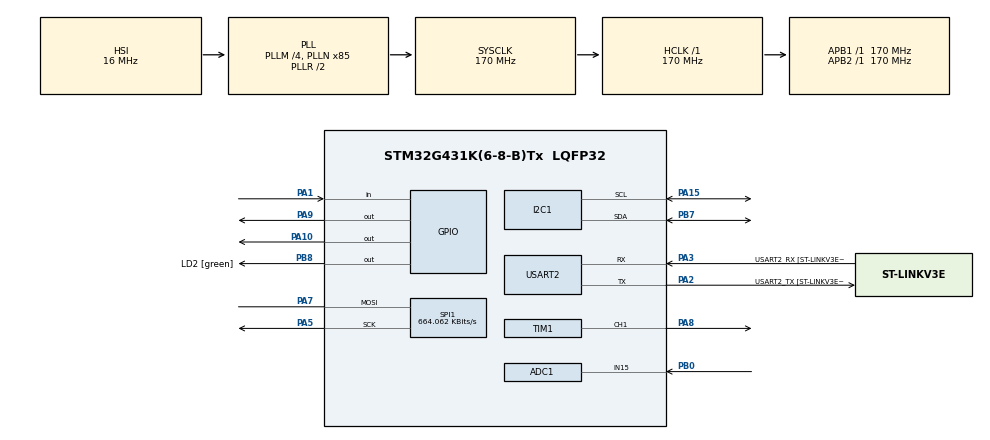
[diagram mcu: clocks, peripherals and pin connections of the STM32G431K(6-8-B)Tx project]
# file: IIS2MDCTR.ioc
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ADC1.Channel-0\#ChannelRegularConversion=ADC_CHANNEL_15
ADC1.NbrOfConversionFlag=1
ADC1.OffsetNumber-0\#ChannelRegularConversion=ADC_OFFSET_NONE
ADC1.Rank-0\#ChannelRegularConversion=1
ADC1.SamplingTime-0\#ChannelRegularConversion=ADC_SAMPLETIME_2CYCLES_5
ADC1.master=1
I2C1.Timing=0x30A0A7FB
Mcu.Family=STM32G4
Mcu.Name=STM32G431K(6-8-B)Tx
Mcu.Package=LQFP32
NVIC.PriorityGroup=NVIC_PRIORITYGROUP_4
PA1.Signal=GPIO_Input
PA10.Signal=GPIO_Output
PA13.GPIO_Label=T_SWDIO
PA13.Mode=Serial_Wire
PA13.Signal=SYS_JTMS-SWDIO
PA14.GPIO_Label=T_SWCLK
PA14.Mode=Serial_Wire
PA14.Signal=SYS_JTCK-SWCLK
PA15.Mode=I2C
PA15.Signal=I2C1_SCL
PA2.GPIO_Label=USART2_TX [ST-LINKV3E_VCP_RX]
PA2.Mode=Asynchronous
PA2.Signal=USART2_TX
PA3.GPIO_Label=USART2_RX [ST-LINKV3E_VCP_TX]
PA3.Mode=Asynchronous
PA3.Signal=USART2_RX
PA5.Mode=Simplex_Bidirectional_Master
PA5.Signal=SPI1_SCK
PA7.Mode=Simplex_Bidirectional_Master
PA7.Signal=SPI1_MOSI
PA8.Signal=S_TIM1_CH1
PA9.Signal=GPIO_Output
PB0.Mode=IN15-Single-Ended
PB0.Signal=ADC1_IN15
PB3.GPIO_Label=T_SWO
PB3.Signal=SYS_JTDO-SWO
PB7.Mode=I2C
PB7.Signal=I2C1_SDA
PB8-BOOT0.GPIO_Label=LD2 [green]
PB8-BOOT0.Signal=GPIO_Output
ProjectManager.HeapSize=0x200
ProjectManager.StackSize=0x400
ProjectManager.TargetToolchain=STM32CubeIDE
RCC.ADC12Freq_Value=170000000
RCC.AHBFreq_Value=170000000
RCC.APB1Freq_Value=170000000
RCC.APB1TimFreq_Value=170000000
RCC.APB2Freq_Value=170000000
RCC.APB2TimFreq_Value=170000000
RCC.CortexFreq_Value=170000000
RCC.EXTERNAL_CLOCK_VALUE=12288000
RCC.HCLKFreq_Value=170000000
RCC.HSE_VALUE=8000000
RCC.HSI48_VALUE=48000000
RCC.HSI_VALUE=16000000
RCC.LSE_VALUE=32768
RCC.PLLM=RCC_PLLM_DIV4
RCC.PLLN=85
RCC.SYSCLKFreq_VALUE=170000000
RCC.SYSCLKSource=RCC_SYSCLKSOURCE_PLLCLK
RCC.USBFreq_Value=170000000
RCC.VCOOutputFreq_Value=340000000
SH.S_TIM1_CH1.0=TIM1_CH1,PWM Generation1 CH1
SPI1.BaudRatePrescaler=SPI_BAUDRATEPRESCALER_256
SPI1.CalculateBaudRate=664.062 KBits/s
SPI1.DataSize=SPI_DATASIZE_8BIT
SPI1.Direction=SPI_DIRECTION_1LINE
SPI1.Mode=SPI_MODE_MASTER
SPI1.VirtualType=VM_MASTER
TIM1.Channel-PWM\ Generation1\ CH1=TIM_CHANNEL_1
TIM1.PeriodNoDither=1000
TIM2.Prescaler=1700
USART2.VirtualMode-Asynchronous=VM_ASYNC
USART2.WordLength=WORDLENGTH_8B
VP_TIM1_VS_ClockSourceINT.Mode=Internal
VP_TIM2_VS_ClockSourceINT.Mode=Internal
board=NUCLEO-G431KB

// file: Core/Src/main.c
/* USER CODE BEGIN Header */
/**
  ******************************************************************************
  * @file           : main.c
  * @brief          : Main program body
  ******************************************************************************
  * @attention
  *
  * Copyright (c) 2023 STMicroelectronics.
  * All rights reserved.
  *
  * This software is licensed under terms that can be found in the LICENSE file
  * in the root directory of this software component.
  * If no LICENSE file comes with this software, it is provided AS-IS.
  *
  ******************************************************************************
  */
/* USER CODE END Header */
#include "main.h"

/* USER CODE BEGIN Includes */
#include <string.h>
#include <stdio.h>
#include <math.h>
#include <stdlib.h>

/* USER CODE END Includes */

/* USER CODE BEGIN PD */
#define IIS2_ADDR 0x1E
#define OUTX_L 0x68
#define OUTY_L 0x6A
#define OUTZ_L 0x6C
#define CFG_REG_A 0x60
#define CFG_REG_B 0x61
#define CFG_REG_C 0x62

#define BNO055_ADDR 0x29<<1 // PULL ADR HIGH
#define BNO055_ACCEL_X 0x08
#define BNO055_ACCEL_Y 0x0a
#define BNO055_ACCEL_Z 0x0c
#define BNO055_MAG_X 0x0e
#define BNO055_MAG_Y 0x10
#define BNO055_MAG_Z 0x12
#define BNO055_GYRO_X 0x14
#define BNO055_GYRO_Y 0x16
#define BNO055_GYRO_Z 0x18
/* USER CODE END PD */

ADC_HandleTypeDef hadc1;

I2C_HandleTypeDef hi2c1;

SPI_HandleTypeDef hspi1;

TIM_HandleTypeDef htim1;
TIM_HandleTypeDef htim2;

UART_HandleTypeDef huart2;

void SystemClock_Config(void);
static void MX_GPIO_Init(void);
static void MX_USART2_UART_Init(void);
static void MX_TIM1_Init(void);
static void MX_SPI1_Init(void);
static void MX_TIM2_Init(void);
static void MX_ADC1_Init(void);
static void MX_I2C1_Init(void);
/* USER CODE BEGIN PFP */
void UART_PRINT_VAL(double value);
void UART_PRINT_TEXT(uint8_t* MSG);
void IIS2_INIT(void);
int IIS2_GET_DATA(uint8_t addr, uint16_t dataSize);
void MAGNETORQUER_SET_PWM(int val, int dir);
void BNO055_INIT(void);
int BNO055_GET_DATA(uint8_t addr, uint16_t dataSize);
/* USER CODE END PFP */

int main(void)
{

  /* MCU Configuration--------------------------------------------------------*/

  /* Reset of all peripherals, Initializes the Flash interface and the Systick. */
  HAL_Init();

  /* Configure the system clock */
  SystemClock_Config();

  /* Initialize all configured peripherals */
  MX_GPIO_Init();
  MX_USART2_UART_Init();
  MX_TIM1_Init();
  MX_SPI1_Init();
  MX_TIM2_Init();
  MX_ADC1_Init();
  MX_I2C1_Init();
  /* USER CODE BEGIN 2 */
  	int pwm_val = 500;
  	uint32_t adc1_val;
  	double adc1_value;

  	int xMag = 0;
  	int yMag = 0;
  	int zMag = 0;
  	double xMagRef = 0;
  	double yMagRef = 0;
  	double zMagRef = 0;

  	int BNOxAccel = 0;
  	int BNOyAccel = 0;
  	int BNOzAccel = 0;
  	int BNOxMag = 0;
  	int BNOyMag = 0;
  	int BNOzMag = 0;
  	int BNOxGyro = 0;
  	int BNOyGyro = 0;
  	int BNOzGyro = 0;
  	double BNOxAccelRef = 0;
  	double BNOyAccelRef = 0;
  	double BNOzAccelRef = 0;
  	double BNOxMagRef = 0;
  	double BNOyMagRef = 0;
  	double BNOzMagRef = 0;
  	double BNOxGyroRef = 0;
  	double BNOyGyroRef = 0;
  	double BNOzGyroRef = 0;

  	HAL_TIM_PWM_Start(&htim1, TIM_CHANNEL_1);
  	TIM1->CCR1 = 500;
  	HAL_TIM_Base_Start(&htim2);

  	//BNO055_INIT();
  	IIS2_INIT();

  	double magCyclePeriod = 20;
  	double currentTime = 0;
  	double IPROPI_res_value = 50;
  	double magCurrent = 0;
  	double prevMagCurrent = 0;
  /* USER CODE END 2 */

  /* Infinite loop */
  /* USER CODE BEGIN WHILE */
  while (1)
  {
	  // BNO055 data outputs
//	  BNO055_INIT();
//	  BNOxAccel = BNO055_GET_DATA(BNO055_ACCEL_X, 2);
//	  BNOyAccel = BNO055_GET_DATA(BNO055_ACCEL_Y, 2);
//	  BNOzAccel = BNO055_GET_DATA(BNO055_ACCEL_Z, 2);
//	  BNOxMag = BNO055_GET_DATA(BNO055_MAG_X, 2);
//	  BNOyMag = BNO055_GET_DATA(BNO055_MAG_Y, 2);
//	  BNOzMag = BNO055_GET_DATA(BNO055_MAG_Z, 2);
//	  BNOxGyro = BNO055_GET_DATA(BNO055_GYRO_X, 2);
//	  BNOyGyro = BNO055_GET_DATA(BNO055_GYRO_Y, 2);
//	  BNOzGyro = BNO055_GET_DATA(BNO055_GYRO_Z, 2);
//	  BNOxAccelRef = BNOxAccel;
//	  BNOyAccelRef = BNOyAccel;
//	  BNOzAccelRef = BNOzAccel;
//	  BNOxMagRef = BNOxMag;
//	  BNOyMagRef = BNOyMag;
//	  BNOzMagRef = BNOzMag;
//	  BNOxGyroRef = BNOxGyro;
//	  BNOyGyroRef = BNOyGyro;
//	  BNOzGyroRef = BNOzGyro;
//	  UART_PRINT_TEXT("Accelerometer: (");
//	  UART_PRINT_VAL(BNOxAccelRef);
//	  UART_PRINT_TEXT(", ");
//	  UART_PRINT_VAL(BNOyAccelRef);
//	  UART_PRINT_TEXT(", ");
//	  UART_PRINT_VAL(BNOzAccelRef);
//	  UART_PRINT_TEXT(" )\nMagnetometer: (");
//	  UART_PRINT_VAL(BNOxMagRef);
//	  UART_PRINT_TEXT(", ");
//	  UART_PRINT_VAL(BNOyMagRef);
//	  UART_PRINT_TEXT(", ");
//	  UART_PRINT_VAL(BNOzMagRef);
//	  UART_PRINT_TEXT(" )\nGyro: (");
//	  UART_PRINT_VAL(BNOxGyroRef);
//	  UART_PRINT_TEXT(", ");
//	  UART_PRINT_VAL(BNOyGyroRef);
//	  UART_PRINT_TEXT(", ");
//	  UART_PRINT_VAL(BNOzGyroRef);
//	  UART_PRINT_TEXT(" )\n");
//	  HAL_Delay(100);

	  // magnetorquer driver
	  currentTime = ((double)(TIM2->CNT)) / 100000.0;
	  if(currentTime < magCyclePeriod * 0.25){
		  MAGNETORQUER_SET_PWM((int)(currentTime * (4000.0 / magCyclePeriod)), 1);
	  }
	  else if(currentTime < magCyclePeriod * 0.5){
		  MAGNETORQUER_SET_PWM((int)(1000.0 - (currentTime - (magCyclePeriod * 0.25)) * (4000.0 / magCyclePeriod)), 1);
	  }
	  else if(currentTime < magCyclePeriod * 0.75){
		  MAGNETORQUER_SET_PWM((int)((currentTime - (magCyclePeriod * 0.5)) * (4000.0 / magCyclePeriod)), 0);
	  }
	  else if(currentTime < magCyclePeriod){
		  MAGNETORQUER_SET_PWM((int)(1000.0 - (currentTime - (magCyclePeriod * 0.75)) * (4000.0 / magCyclePeriod)), 0);
	  }
	  else{
		  TIM2->CNT = 0;
	  }
	  HAL_ADC_Start(&hadc1);
	  magCurrent = ((((double) HAL_ADC_GetValue(&hadc1)) / 4096.0) * 3.3) / IPROPI_res_value;

	  // IIS2MDCTR data outputs
	  if(HAL_GPIO_ReadPin(GPIOA, GPIO_PIN_1)){
		  xMag = IIS2_GET_DATA(OUTX_L, 1);
		  xMagRef = ((double) xMag) * 0.15;
		  yMag = IIS2_GET_DATA(OUTY_L, 1);
		  yMagRef = ((double) yMag) * 0.15;
		  zMag = IIS2_GET_DATA(OUTZ_L, 1);
		  zMagRef = ((double) zMag) * 0.15;
//		  UART_PRINT_TEXT("Mag: (");
//		  UART_PRINT_VAL(xMagRef);
//		  UART_PRINT_TEXT(", ");
//		  UART_PRINT_VAL(yMagRef);
//		  UART_PRINT_TEXT(", ");
//		  UART_PRINT_VAL(zMagRef);
//		  UART_PRINT_TEXT(")\n");
		  if(sqrt(pow(magCurrent - prevMagCurrent, 2)) > 0.00025){
			  if(currentTime < magCyclePeriod * 0.5){
				  UART_PRINT_TEXT("-");
			  }
			  UART_PRINT_VAL(magCurrent);
			  UART_PRINT_TEXT(" ");
			  UART_PRINT_VAL(yMagRef);
			  UART_PRINT_TEXT("\n");
			  prevMagCurrent = magCurrent;
		  }
	  }

    /* USER CODE END WHILE */

  }
}

void SystemClock_Config(void)
{
  RCC_OscInitTypeDef RCC_OscInitStruct = {0};
  RCC_ClkInitTypeDef RCC_ClkInitStruct = {0};

  /** Configure the main internal regulator output voltage
  */
  HAL_PWREx_ControlVoltageScaling(PWR_REGULATOR_VOLTAGE_SCALE1_BOOST);

  /** Initializes the RCC Oscillators according to the specified parameters
  * in the RCC_OscInitTypeDef structure.
  */
  RCC_OscInitStruct.OscillatorType = RCC_OSCILLATORTYPE_HSI;
  RCC_OscInitStruct.HSIState = RCC_HSI_ON;
  RCC_OscInitStruct.HSICalibrationValue = RCC_HSICALIBRATION_DEFAULT;
  RCC_OscInitStruct.PLL.PLLState = RCC_PLL_ON;
  RCC_OscInitStruct.PLL.PLLSource = RCC_PLLSOURCE_HSI;
  RCC_OscInitStruct.PLL.PLLM = RCC_PLLM_DIV4;
  RCC_OscInitStruct.PLL.PLLN = 85;
  RCC_OscInitStruct.PLL.PLLP = RCC_PLLP_DIV2;
  RCC_OscInitStruct.PLL.PLLQ = RCC_PLLQ_DIV2;
  RCC_OscInitStruct.PLL.PLLR = RCC_PLLR_DIV2;
  if (HAL_RCC_OscConfig(&RCC_OscInitStruct) != HAL_OK)
  {
    Error_Handler();
  }

  /** Initializes the CPU, AHB and APB buses clocks
  */
  RCC_ClkInitStruct.ClockType = RCC_CLOCKTYPE_HCLK|RCC_CLOCKTYPE_SYSCLK
                              |RCC_CLOCKTYPE_PCLK1|RCC_CLOCKTYPE_PCLK2;
  RCC_ClkInitStruct.SYSCLKSource = RCC_SYSCLKSOURCE_PLLCLK;
  RCC_ClkInitStruct.AHBCLKDivider = RCC_SYSCLK_DIV1;
  RCC_ClkInitStruct.APB1CLKDivider = RCC_HCLK_DIV1;
  RCC_ClkInitStruct.APB2CLKDivider = RCC_HCLK_DIV1;

  if (HAL_RCC_ClockConfig(&RCC_ClkInitStruct, FLASH_LATENCY_4) != HAL_OK)
  {
    Error_Handler();
  }
}

static void MX_ADC1_Init(void)
{

  ADC_MultiModeTypeDef multimode = {0};
  ADC_ChannelConfTypeDef sConfig = {0};

  /** Common config
  */
  hadc1.Instance = ADC1;
  hadc1.Init.ClockPrescaler = ADC_CLOCK_SYNC_PCLK_DIV4;
  hadc1.Init.Resolution = ADC_RESOLUTION_12B;
  hadc1.Init.DataAlign = ADC_DATAALIGN_RIGHT;
  hadc1.Init.GainCompensation = 0;
  hadc1.Init.ScanConvMode = ADC_SCAN_DISABLE;
  hadc1.Init.EOCSelection = ADC_EOC_SINGLE_CONV;
  hadc1.Init.LowPowerAutoWait = DISABLE;
  hadc1.Init.ContinuousConvMode = DISABLE;
  hadc1.Init.NbrOfConversion = 1;
  hadc1.Init.DiscontinuousConvMode = DISABLE;
  hadc1.Init.ExternalTrigConv = ADC_SOFTWARE_START;
  hadc1.Init.ExternalTrigConvEdge = ADC_EXTERNALTRIGCONVEDGE_NONE;
  hadc1.Init.DMAContinuousRequests = DISABLE;
  hadc1.Init.Overrun = ADC_OVR_DATA_PRESERVED;
  hadc1.Init.OversamplingMode = DISABLE;
  if (HAL_ADC_Init(&hadc1) != HAL_OK)
  {
    Error_Handler();
  }

  /** Configure the ADC multi-mode
  */
  multimode.Mode = ADC_MODE_INDEPENDENT;
  if (HAL_ADCEx_MultiModeConfigChannel(&hadc1, &multimode) != HAL_OK)
  {
    Error_Handler();
  }

  /** Configure Regular Channel
  */
  sConfig.Channel = ADC_CHANNEL_15;
  sConfig.Rank = ADC_REGULAR_RANK_1;
  sConfig.SamplingTime = ADC_SAMPLETIME_2CYCLES_5;
  sConfig.SingleDiff = ADC_SINGLE_ENDED;
  sConfig.OffsetNumber = ADC_OFFSET_NONE;
  sConfig.Offset = 0;
  if (HAL_ADC_ConfigChannel(&hadc1, &sConfig) != HAL_OK)
  {
    Error_Handler();
  }

}

static void MX_I2C1_Init(void)
{

  hi2c1.Instance = I2C1;
  hi2c1.Init.Timing = 0x30A0A7FB;
  hi2c1.Init.OwnAddress1 = 0;
  hi2c1.Init.AddressingMode = I2C_ADDRESSINGMODE_7BIT;
  hi2c1.Init.DualAddressMode = I2C_DUALADDRESS_DISABLE;
  hi2c1.Init.OwnAddress2 = 0;
  hi2c1.Init.OwnAddress2Masks = I2C_OA2_NOMASK;
  hi2c1.Init.GeneralCallMode = I2C_GENERALCALL_DISABLE;
  hi2c1.Init.NoStretchMode = I2C_NOSTRETCH_DISABLE;
  if (HAL_I2C_Init(&hi2c1) != HAL_OK)
  {
    Error_Handler();
  }

  /** Configure Analogue filter
  */
  if (HAL_I2CEx_ConfigAnalogFilter(&hi2c1, I2C_ANALOGFILTER_ENABLE) != HAL_OK)
  {
    Error_Handler();
  }

  /** Configure Digital filter
  */
  if (HAL_I2CEx_ConfigDigitalFilter(&hi2c1, 0) != HAL_OK)
  {
    Error_Handler();
  }

}

static void MX_SPI1_Init(void)
{

  /* SPI1 parameter configuration*/
  hspi1.Instance = SPI1;
  hspi1.Init.Mode = SPI_MODE_MASTER;
  hspi1.Init.Direction = SPI_DIRECTION_1LINE;
  hspi1.Init.DataSize = SPI_DATASIZE_8BIT;
  hspi1.Init.CLKPolarity = SPI_POLARITY_LOW;
  hspi1.Init.CLKPhase = SPI_PHASE_1EDGE;
  hspi1.Init.NSS = SPI_NSS_SOFT;
  hspi1.Init.BaudRatePrescaler = SPI_BAUDRATEPRESCALER_256;
  hspi1.Init.FirstBit = SPI_FIRSTBIT_MSB;
  hspi1.Init.TIMode = SPI_TIMODE_DISABLE;
  hspi1.Init.CRCCalculation = SPI_CRCCALCULATION_DISABLE;
  hspi1.Init.CRCPolynomial = 7;
  hspi1.Init.CRCLength = SPI_CRC_LENGTH_DATASIZE;
  hspi1.Init.NSSPMode = SPI_NSS_PULSE_ENABLE;
  if (HAL_SPI_Init(&hspi1) != HAL_OK)
  {
    Error_Handler();
  }

}

static void MX_TIM1_Init(void)
{

  TIM_ClockConfigTypeDef sClockSourceConfig = {0};
  TIM_MasterConfigTypeDef sMasterConfig = {0};
  TIM_OC_InitTypeDef sConfigOC = {0};
  TIM_BreakDeadTimeConfigTypeDef sBreakDeadTimeConfig = {0};

  htim1.Instance = TIM1;
  htim1.Init.Prescaler = 0;
  htim1.Init.CounterMode = TIM_COUNTERMODE_UP;
  htim1.Init.Period = 1000;
  htim1.Init.ClockDivision = TIM_CLOCKDIVISION_DIV1;
  htim1.Init.RepetitionCounter = 0;
  htim1.Init.AutoReloadPreload = TIM_AUTORELOAD_PRELOAD_DISABLE;
  if (HAL_TIM_Base_Init(&htim1) != HAL_OK)
  {
    Error_Handler();
  }
  sClockSourceConfig.ClockSource = TIM_CLOCKSOURCE_INTERNAL;
  if (HAL_TIM_ConfigClockSource(&htim1, &sClockSourceConfig) != HAL_OK)
  {
    Error_Handler();
  }
  if (HAL_TIM_PWM_Init(&htim1) != HAL_OK)
  {
    Error_Handler();
  }
  sMasterConfig.MasterOutputTrigger = TIM_TRGO_RESET;
  sMasterConfig.MasterOutputTrigger2 = TIM_TRGO2_RESET;
  sMasterConfig.MasterSlaveMode = TIM_MASTERSLAVEMODE_DISABLE;
  if (HAL_TIMEx_MasterConfigSynchronization(&htim1, &sMasterConfig) != HAL_OK)
  {
    Error_Handler();
  }
  sConfigOC.OCMode = TIM_OCMODE_PWM1;
  sConfigOC.Pulse = 0;
  sConfigOC.OCPolarity = TIM_OCPOLARITY_HIGH;
  sConfigOC.OCNPolarity = TIM_OCNPOLARITY_HIGH;
  sConfigOC.OCFastMode = TIM_OCFAST_DISABLE;
  sConfigOC.OCIdleState = TIM_OCIDLESTATE_RESET;
  sConfigOC.OCNIdleState = TIM_OCNIDLESTATE_RESET;
  if (HAL_TIM_PWM_ConfigChannel(&htim1, &sConfigOC, TIM_CHANNEL_1) != HAL_OK)
  {
    Error_Handler();
  }
  sBreakDeadTimeConfig.OffStateRunMode = TIM_OSSR_DISABLE;
  sBreakDeadTimeConfig.OffStateIDLEMode = TIM_OSSI_DISABLE;
  sBreakDeadTimeConfig.LockLevel = TIM_LOCKLEVEL_OFF;
  sBreakDeadTimeConfig.DeadTime = 0;
  sBreakDeadTimeConfig.BreakState = TIM_BREAK_DISABLE;
  sBreakDeadTimeConfig.BreakPolarity = TIM_BREAKPOLARITY_HIGH;
  sBreakDeadTimeConfig.BreakFilter = 0;
  sBreakDeadTimeConfig.BreakAFMode = TIM_BREAK_AFMODE_INPUT;
  sBreakDeadTimeConfig.Break2State = TIM_BREAK2_DISABLE;
  sBreakDeadTimeConfig.Break2Polarity = TIM_BREAK2POLARITY_HIGH;
  sBreakDeadTimeConfig.Break2Filter = 0;
  sBreakDeadTimeConfig.Break2AFMode = TIM_BREAK_AFMODE_INPUT;
  sBreakDeadTimeConfig.AutomaticOutput = TIM_AUTOMATICOUTPUT_DISABLE;
  if (HAL_TIMEx_ConfigBreakDeadTime(&htim1, &sBreakDeadTimeConfig) != HAL_OK)
  {
    Error_Handler();
  }
  HAL_TIM_MspPostInit(&htim1);

}

static void MX_TIM2_Init(void)
{

  TIM_ClockConfigTypeDef sClockSourceConfig = {0};
  TIM_MasterConfigTypeDef sMasterConfig = {0};

  htim2.Instance = TIM2;
  htim2.Init.Prescaler = 1700;
  htim2.Init.CounterMode = TIM_COUNTERMODE_UP;
  htim2.Init.Period = 4.294967295E9;
  htim2.Init.ClockDivision = TIM_CLOCKDIVISION_DIV1;
  htim2.Init.AutoReloadPreload = TIM_AUTORELOAD_PRELOAD_DISABLE;
  if (HAL_TIM_Base_Init(&htim2) != HAL_OK)
  {
    Error_Handler();
  }
  sClockSourceConfig.ClockSource = TIM_CLOCKSOURCE_INTERNAL;
  if (HAL_TIM_ConfigClockSource(&htim2, &sClockSourceConfig) != HAL_OK)
  {
    Error_Handler();
  }
  sMasterConfig.MasterOutputTrigger = TIM_TRGO_RESET;
  sMasterConfig.MasterSlaveMode = TIM_MASTERSLAVEMODE_DISABLE;
  if (HAL_TIMEx_MasterConfigSynchronization(&htim2, &sMasterConfig) != HAL_OK)
  {
    Error_Handler();
  }

}

static void MX_USART2_UART_Init(void)
{

  huart2.Instance = USART2;
  huart2.Init.BaudRate = 115200;
  huart2.Init.WordLength = UART_WORDLENGTH_8B;
  huart2.Init.StopBits = UART_STOPBITS_1;
  huart2.Init.Parity = UART_PARITY_NONE;
  huart2.Init.Mode = UART_MODE_TX_RX;
  huart2.Init.HwFlowCtl = UART_HWCONTROL_NONE;
  huart2.Init.OverSampling = UART_OVERSAMPLING_16;
  huart2.Init.OneBitSampling = UART_ONE_BIT_SAMPLE_DISABLE;
  huart2.Init.ClockPrescaler = UART_PRESCALER_DIV1;
  huart2.AdvancedInit.AdvFeatureInit = UART_ADVFEATURE_NO_INIT;
  if (HAL_UART_Init(&huart2) != HAL_OK)
  {
    Error_Handler();
  }
  if (HAL_UARTEx_SetTxFifoThreshold(&huart2, UART_TXFIFO_THRESHOLD_1_8) != HAL_OK)
  {
    Error_Handler();
  }
  if (HAL_UARTEx_SetRxFifoThreshold(&huart2, UART_RXFIFO_THRESHOLD_1_8) != HAL_OK)
  {
    Error_Handler();
  }
  if (HAL_UARTEx_DisableFifoMode(&huart2) != HAL_OK)
  {
    Error_Handler();
  }

}

static void MX_GPIO_Init(void)
{
  GPIO_InitTypeDef GPIO_InitStruct = {0};

  /* GPIO Ports Clock Enable */
  __HAL_RCC_GPIOA_CLK_ENABLE();
  __HAL_RCC_GPIOB_CLK_ENABLE();

  /*Configure GPIO pin Output Level */
  HAL_GPIO_WritePin(GPIOA, GPIO_PIN_9|GPIO_PIN_10, GPIO_PIN_RESET);

  /*Configure GPIO pin Output Level */
  HAL_GPIO_WritePin(LD2_GPIO_Port, LD2_Pin, GPIO_PIN_RESET);

  /*Configure GPIO pin : PA1 */
  GPIO_InitStruct.Pin = GPIO_PIN_1;
  GPIO_InitStruct.Mode = GPIO_MODE_INPUT;
  GPIO_InitStruct.Pull = GPIO_NOPULL;
  HAL_GPIO_Init(GPIOA, &GPIO_InitStruct);

  /*Configure GPIO pins : PA9 PA10 */
  GPIO_InitStruct.Pin = GPIO_PIN_9|GPIO_PIN_10;
  GPIO_InitStruct.Mode = GPIO_MODE_OUTPUT_PP;
  GPIO_InitStruct.Pull = GPIO_NOPULL;
  GPIO_InitStruct.Speed = GPIO_SPEED_FREQ_LOW;
  HAL_GPIO_Init(GPIOA, &GPIO_InitStruct);

  /*Configure GPIO pin : LD2_Pin */
  GPIO_InitStruct.Pin = LD2_Pin;
  GPIO_InitStruct.Mode = GPIO_MODE_OUTPUT_PP;
  GPIO_InitStruct.Pull = GPIO_NOPULL;
  GPIO_InitStruct.Speed = GPIO_SPEED_FREQ_LOW;
  HAL_GPIO_Init(LD2_GPIO_Port, &GPIO_InitStruct);

}

/* USER CODE BEGIN 4 */
void UART_PRINT_VAL(double value){
    char total[50];
    char temp[10];
    if(value < 0){
       UART_PRINT_TEXT("-");
    }
    sprintf(total, "%i", abs((int)value));
    strcat(total, ".");
    double currentVal = (value - (int) value);
    for(int a=0;a<6;a++){
        currentVal *= 10;
        sprintf(temp, "%i", abs((int)currentVal));
        strcat(total, temp);
        currentVal -= (int)currentVal;
    }
    HAL_UART_Transmit(&huart2, total, strlen(total), 100);
}
void UART_PRINT_TEXT(uint8_t* MSG){
	HAL_UART_Transmit(&huart2, MSG, strlen(MSG), 100);
}
void MAGNETORQUER_SET_PWM(int val, int dir){
	if(dir){
		HAL_GPIO_WritePin(GPIOA, GPIO_PIN_9, GPIO_PIN_SET);
	}
	else{
		HAL_GPIO_WritePin(GPIOA, GPIO_PIN_9, GPIO_PIN_RESET);
	}
	__HAL_TIM_SET_COMPARE(&htim1, TIM_CHANNEL_1, val);
}
void IIS2_INIT(void){
	uint8_t data1[2] = {CFG_REG_A, 0x8c};
	uint8_t data2[2] = {CFG_REG_B, 0x01};
	uint8_t data3[2] = {CFG_REG_C, 0x21};
	HAL_GPIO_WritePin(GPIOA, GPIO_PIN_10, GPIO_PIN_RESET);
	HAL_SPI_Transmit(&hspi1, data1, 2, 100); // TEMP COMP, 100Hz, CONTINUOUS MODE
	HAL_SPI_Transmit(&hspi1, data2, 2, 100); // ENABLE LPF
	HAL_SPI_Transmit(&hspi1, data3, 2, 100); // DATA READY INT, DISABLE I2C
	HAL_GPIO_WritePin(GPIOA, GPIO_PIN_10, GPIO_PIN_SET);
}
int IIS2_GET_DATA(uint8_t addr, uint16_t dataSize){
	int val = 0;
	uint16_t value = 0;
	uint8_t sendData[1] = {0x80 | addr};
	uint8_t receiveData[2];
	HAL_GPIO_WritePin(GPIOA, GPIO_PIN_10, GPIO_PIN_RESET);
	HAL_SPI_Transmit(&hspi1, sendData, 1, 100);
	HAL_SPI_Receive(&hspi1, receiveData, 2, 100);
	HAL_GPIO_WritePin(GPIOA, GPIO_PIN_10, GPIO_PIN_SET);
	value = (receiveData[1] << 8 | receiveData[0]);
	if(value > 0x7fff){
		value = value - 0x01;
		value = ~value;
		val = -value;
	}
	else{
		val = value;
	}
	return val;
}
void BNO055_INIT(void){
	HAL_I2C_Mem_Write(&hi2c1, BNO055_ADDR, 0x3D, 1, 0x07, 1, 100); //OPR_MODE = AMG (turn on all sensors)
	//HAL_I2C_Mem_Write(&hi2c1, BNO055_ADDR, 0x3D, 1, 0x02, 1, 100); //OPR_MODE = MAG_ONLY (turn on magnetometer sensor)
	HAL_Delay(20);
	HAL_I2C_Mem_Write(&hi2c1, BNO055_ADDR, 0x09, 1, 0x1f, 1, 100); // magnetorquer power mode to NORMAL, ODR = 30HZ, high accuracy mode
}
int BNO055_GET_DATA(uint8_t addr, uint16_t dataSize){
	int val = 0;
	uint16_t value = 0;
	uint8_t receiveData[dataSize];
	HAL_I2C_Mem_Read(&hi2c1, BNO055_ADDR, addr, 1, receiveData, dataSize, 100);
	value = (receiveData[1] << 8 | receiveData[0]);
	if(value > 0x7fff){
		value = value - 0x01;
		value = ~value;
		val = -value;
	}
	else{
		val = value;
	}
	return val;
}
/* USER CODE END 4 */

void Error_Handler(void)
{
  __disable_irq();
  while (1)
  {
  }
}
